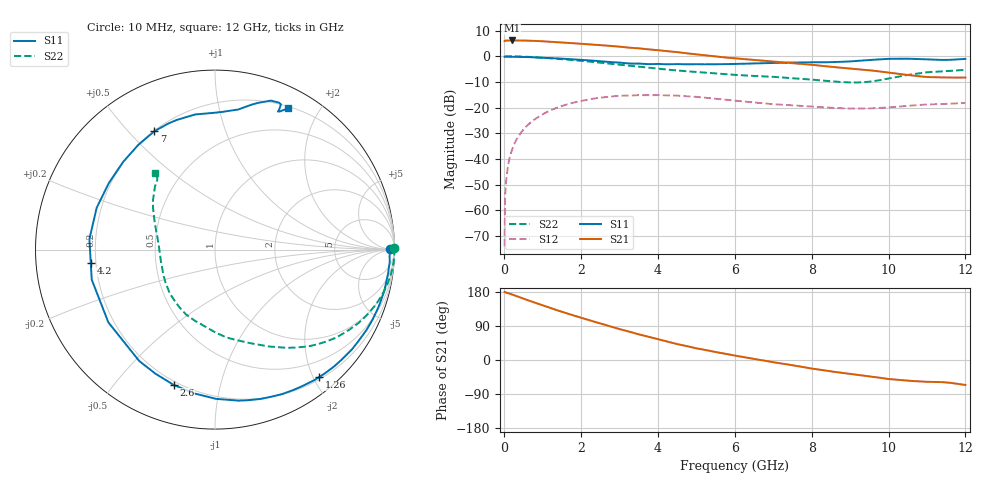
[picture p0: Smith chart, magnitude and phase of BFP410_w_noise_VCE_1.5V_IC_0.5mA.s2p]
! Infineon Technologies  Discrete & RF Semiconductors
! BFP410
! VCE =  1.5 V,  IC =  0.5 mA
! Common Emitter S-Parameters:  Nov 2015
# GHz  S  MA  R  50
!  f  S11  S21  S12  S22
! GHz  MAG  ANG  MAG  ANG  MAG  ANG  MAG  ANG
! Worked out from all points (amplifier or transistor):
!   243 points, 10 MHz to 12 GHz, reference 50 ohm
!   highest |S21| = 6.1 dB at 195 MHz (marker M1)
!   |S21| within 3 dB of that: start of sweep to 3.427 GHz
!   unconditionally stable (mu >= 1): 4.765 GHz to end of sweep
!   at 240 MHz: K = 0.02, MSG = 20.5 dB, |S12| = -35.0 dB
!   at 1.84 GHz: K = 0.27, MSG = 11.5 dB, |S12| = -18.0 dB
!   at 12 GHz: K = 1.49, MAG = 0.8 dB, |S12| = -18.2 dB
!   lowest NFmin = 0.85 dB at 900 MHz
!   S11 on the Smith chart (normalised r, x): 10 MHz: 75, +10; 1.26 GHz: 0.23, -2.08; 2.6 GHz: 0.18, -0.72; 4.2 GHz: 0.18, -0.05; 7 GHz: 0.20, +0.59; 12 GHz: 0.22, +1.62
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0.01  0.9741 0.2  1.971 179.6  0.0002 87.8  1 0.4
0.015  0.9754 -0.2  1.992 179.5  0.0009 93.3  0.9983 0.2
0.02  0.9767 -0.5  2.013 179.5  0.0017 93.9  0.9966 0.0
0.035  0.9747 -1.2  2.009 178.7  0.0027 91.3  0.9979 -0.5
0.09  0.9753 -3.5  2.015 176.8  0.0067 88.3  0.9991 -1.9
0.195  0.9736 -7.6  2.024 173.2  0.0144 85.6  0.997 -4.3
0.34  0.9706 -13.4  2.024 167.9  0.0253 82.1  0.9909 -7.4
0.56  0.9619 -22.2  2.007 159.7  0.0417 76.6  0.9765 -12.2
1.26  0.9169 -50.9  1.903 135.3  0.092 58.5  0.9043 -26.0
2.02  0.8484 -82.1  1.74 111.0  0.1355 39.1  0.8102 -38.8
2.6  0.7881 -107.0  1.623 93.2  0.1594 24.4  0.7319 -47.8
3.5  0.7193 -145.7  1.422 67.7  0.1744 4.1  0.6217 -60.4
4.1  0.7001 -169.9  1.286 52.3  0.1737 -7.2  0.5612 -68.7
4.2  0.6963 -173.7  1.261 49.8  0.1727 -9.0  0.5519 -70.2
5  0.6992 160.5  1.086 30.8  0.1614 -22.3  0.4931 -82.7
6.1  0.709 134.2  0.895 10.0  0.1342 -33.4  0.4283 -98.6
7  0.741 117.1  0.786 -5.8  0.1164 -36.6  0.3963 -113.9
8.2  0.7597 94.3  0.656 -25.4  0.1024 -36.6  0.339 -141.3
9.2  0.811 78.2  0.557 -39.2  0.0957 -31.6  0.3076 -175.0
10.2  0.8896 67.9  0.46 -51.9  0.1035 -26.1  0.3912 150.6
11  0.8647 65.4  0.393 -57.5  0.115 -27.3  0.4862 133.4
12  0.8854 62.7  0.384 -65.9  0.1232 -30.1  0.5426 128.4
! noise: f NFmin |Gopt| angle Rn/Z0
0.45  0.91  0.8  10  0.81
0.9  0.85  0.78  25  0.75
1.8  1.38  0.67  59  0.64
2.4  1.54  0.64  75  0.53
5.5  3.38  0.54  -159  0.23
